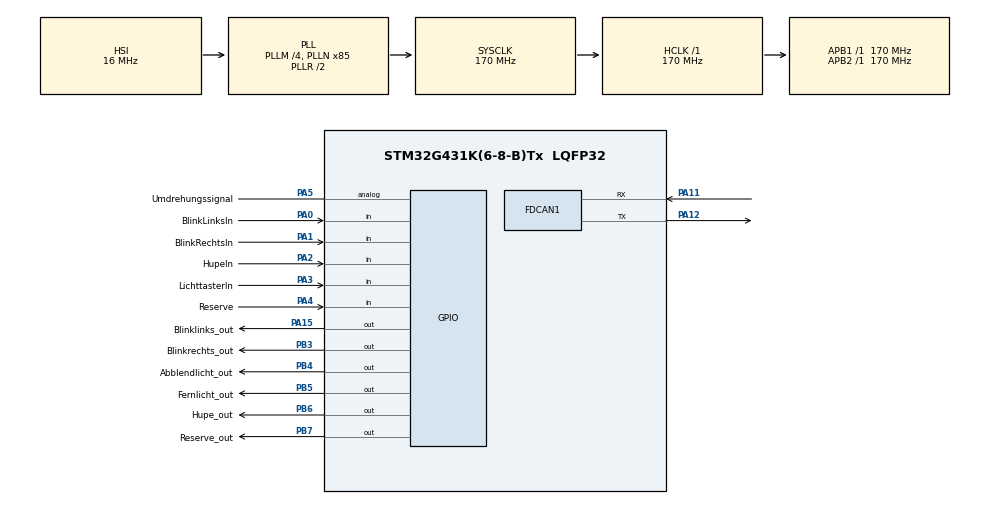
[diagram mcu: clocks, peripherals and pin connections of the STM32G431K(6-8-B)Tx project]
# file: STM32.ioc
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FDCAN1.CalculateBaudRateNominal=3541666
FDCAN1.CalculateTimeBitNominal=282
FDCAN1.CalculateTimeQuantumNominal=94.11764705882354
Mcu.Family=STM32G4
Mcu.Name=STM32G431K(6-8-B)Tx
Mcu.Package=LQFP32
NVIC.PriorityGroup=NVIC_PRIORITYGROUP_4
PA0.GPIO_Label=BlinkLinksIn
PA0.GPIO_PuPd=GPIO_PULLUP
PA0.Signal=GPIO_Input
PA1.GPIO_Label=BlinkRechtsIn
PA1.GPIO_PuPd=GPIO_PULLUP
PA1.Signal=GPIO_Input
PA11.Mode=FDCAN_Activate
PA11.Signal=FDCAN1_RX
PA12.Mode=FDCAN_Activate
PA12.Signal=FDCAN1_TX
PA13.Mode=Serial_Wire
PA13.Signal=SYS_JTMS-SWDIO
PA14.Mode=Serial_Wire
PA14.Signal=SYS_JTCK-SWCLK
PA15.GPIO_Label=Blinklinks_out
PA15.Signal=GPIO_Output
PA2.GPIO_Label=HupeIn
PA2.GPIO_PuPd=GPIO_PULLUP
PA2.Signal=GPIO_Input
PA3.GPIO_Label=LichttasterIn
PA3.GPIO_PuPd=GPIO_PULLUP
PA3.Signal=GPIO_Input
PA4.GPIO_Label=Reserve
PA4.GPIO_PuPd=GPIO_PULLUP
PA4.Signal=GPIO_Input
PA5.GPIO_Label=Umdrehungssignal
PA5.Signal=GPIO_Analog
PB3.GPIO_Label=Blinkrechts_out
PB3.Signal=GPIO_Output
PB4.GPIO_Label=Abblendlicht_out
PB4.Signal=GPIO_Output
PB5.GPIO_Label=Fernlicht_out
PB5.Signal=GPIO_Output
PB6.GPIO_Label=Hupe_out
PB6.Signal=GPIO_Output
PB7.GPIO_Label=Reserve_out
PB7.Signal=GPIO_Output
ProjectManager.HeapSize=0x200
ProjectManager.StackSize=0x400
ProjectManager.TargetToolchain=STM32CubeIDE
RCC.ADC12Freq_Value=170000000
RCC.AHBFreq_Value=170000000
RCC.APB1Freq_Value=170000000
RCC.APB1TimFreq_Value=170000000
RCC.APB2Freq_Value=170000000
RCC.APB2TimFreq_Value=170000000
RCC.CortexFreq_Value=170000000
RCC.EXTERNAL_CLOCK_VALUE=12288000
RCC.HCLKFreq_Value=170000000
RCC.HSE_VALUE=8000000
RCC.HSI48_VALUE=48000000
RCC.HSI_VALUE=16000000
RCC.LSE_VALUE=32768
RCC.PLLM=RCC_PLLM_DIV4
RCC.PLLN=85
RCC.SYSCLKFreq_VALUE=170000000
RCC.SYSCLKSource=RCC_SYSCLKSOURCE_PLLCLK
RCC.USBFreq_Value=170000000
RCC.VCOOutputFreq_Value=340000000
VP_SYS_VS_DBSignals.Mode=DisableDeadBatterySignals
board=custom

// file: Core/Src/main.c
/* USER CODE BEGIN Header */
/**
  ******************************************************************************
  * @file           : main.c
  * @brief          : Main program body
  ******************************************************************************
  * @attention
  *
  * Copyright (c) 2026 STMicroelectronics.
  * All rights reserved.
  *
  * This software is licensed under terms that can be found in the LICENSE file
  * in the root directory of this software component.
  * If no LICENSE file comes with this software, it is provided AS-IS.
  *
  ******************************************************************************
  */
/* USER CODE END Header */
#include "main.h"

/* USER CODE BEGIN Includes */
#include "buttons.h"
#include "events.h"
#include "blinker.h"
#include "vehicle.h"
#include "outputs.h"
#include "can.h"
#include "lights.h"
#include <string.h>
/* USER CODE END Includes */

FDCAN_HandleTypeDef hfdcan1;

void SystemClock_Config(void);
static void MX_GPIO_Init(void);
static void MX_FDCAN1_Init(void);

int main(void)
{

  /* MCU Configuration--------------------------------------------------------*/

  /* Reset of all peripherals, Initializes the Flash interface and the Systick. */
  HAL_Init();

  /* Configure the system clock */
  SystemClock_Config();

  /* Initialize all configured peripherals */
  MX_GPIO_Init();
  MX_FDCAN1_Init();

  /* USER CODE BEGIN 2 */
  if (HAL_FDCAN_Start(&hfdcan1) != HAL_OK)
  {
      Error_Handler();
  }

  HAL_Delay(500);

  Buttons_Init();
  Blinker_Init();
  Vehicle_Init();
  Lights_Init();
  /* USER CODE END 2 */

  /* Infinite loop */
  /* USER CODE BEGIN WHILE */
  uint32_t canTimer = HAL_GetTick();
  Outputs_t lastOutputs = {0};

  while (1)
  {
      Buttons_Update();

      Event_t event;
      while (Event_Get(&event))
      {
          Can_SendEvent(event);
          Vehicle_HandleEvent(event);
          Blinker_HandleEvent(event);
      }

      Blinker_Update();
      Outputs_Update();

      /* Status sofort senden, wenn sich ein Ausgang ändert */
      if (memcmp(&lastOutputs, &outputs, sizeof(Outputs_t)) != 0)
      {
          lastOutputs = outputs;
          Can_SendStatusFrame();
      }

      /* Zusätzlich alle 1 Sekunde Status senden */
      if (HAL_GetTick() - canTimer >= 800)
      {
          canTimer = HAL_GetTick();
          Can_SendStatusFrame();
      }
  }
  /* USER CODE END 3 */
}

void SystemClock_Config(void)
{
  RCC_OscInitTypeDef RCC_OscInitStruct = {0};
  RCC_ClkInitTypeDef RCC_ClkInitStruct = {0};

  /** Configure the main internal regulator output voltage
  */
  HAL_PWREx_ControlVoltageScaling(PWR_REGULATOR_VOLTAGE_SCALE1_BOOST);

  /** Initializes the RCC Oscillators according to the specified parameters
  * in the RCC_OscInitTypeDef structure.
  */
  RCC_OscInitStruct.OscillatorType = RCC_OSCILLATORTYPE_HSI;
  RCC_OscInitStruct.HSIState = RCC_HSI_ON;
  RCC_OscInitStruct.HSICalibrationValue = RCC_HSICALIBRATION_DEFAULT;
  RCC_OscInitStruct.PLL.PLLState = RCC_PLL_ON;
  RCC_OscInitStruct.PLL.PLLSource = RCC_PLLSOURCE_HSI;
  RCC_OscInitStruct.PLL.PLLM = RCC_PLLM_DIV4;
  RCC_OscInitStruct.PLL.PLLN = 85;
  RCC_OscInitStruct.PLL.PLLP = RCC_PLLP_DIV2;
  RCC_OscInitStruct.PLL.PLLQ = RCC_PLLQ_DIV2;
  RCC_OscInitStruct.PLL.PLLR = RCC_PLLR_DIV2;
  if (HAL_RCC_OscConfig(&RCC_OscInitStruct) != HAL_OK)
  {
    Error_Handler();
  }

  /** Initializes the CPU, AHB and APB buses clocks
  */
  RCC_ClkInitStruct.ClockType = RCC_CLOCKTYPE_HCLK|RCC_CLOCKTYPE_SYSCLK
                              |RCC_CLOCKTYPE_PCLK1|RCC_CLOCKTYPE_PCLK2;
  RCC_ClkInitStruct.SYSCLKSource = RCC_SYSCLKSOURCE_PLLCLK;
  RCC_ClkInitStruct.AHBCLKDivider = RCC_SYSCLK_DIV1;
  RCC_ClkInitStruct.APB1CLKDivider = RCC_HCLK_DIV1;
  RCC_ClkInitStruct.APB2CLKDivider = RCC_HCLK_DIV1;

  if (HAL_RCC_ClockConfig(&RCC_ClkInitStruct, FLASH_LATENCY_4) != HAL_OK)
  {
    Error_Handler();
  }
}

static void MX_FDCAN1_Init(void)
{

  hfdcan1.Instance = FDCAN1;
  hfdcan1.Init.ClockDivider = FDCAN_CLOCK_DIV1;
  hfdcan1.Init.FrameFormat = FDCAN_FRAME_CLASSIC;
  hfdcan1.Init.Mode = FDCAN_MODE_NORMAL;
  hfdcan1.Init.AutoRetransmission = ENABLE;
  hfdcan1.Init.TransmitPause = DISABLE;
  hfdcan1.Init.ProtocolException = DISABLE;
  hfdcan1.Init.NominalPrescaler = 20;
  hfdcan1.Init.NominalSyncJumpWidth = 2;
  hfdcan1.Init.NominalTimeSeg1 = 14;
  hfdcan1.Init.NominalTimeSeg2 = 2;
  hfdcan1.Init.DataPrescaler = 1;
  hfdcan1.Init.DataSyncJumpWidth = 1;
  hfdcan1.Init.DataTimeSeg1 = 1;
  hfdcan1.Init.DataTimeSeg2 = 1;
  hfdcan1.Init.StdFiltersNbr = 0;
  hfdcan1.Init.ExtFiltersNbr = 0;
  hfdcan1.Init.TxFifoQueueMode = FDCAN_TX_FIFO_OPERATION;
  if (HAL_FDCAN_Init(&hfdcan1) != HAL_OK)
  {
    Error_Handler();
  }

}

static void MX_GPIO_Init(void)
{
  GPIO_InitTypeDef GPIO_InitStruct = {0};

  /* GPIO Ports Clock Enable */
  __HAL_RCC_GPIOA_CLK_ENABLE();
  __HAL_RCC_GPIOB_CLK_ENABLE();

  /*Configure GPIO pin Output Level */
  HAL_GPIO_WritePin(Blinklinks_out_GPIO_Port, Blinklinks_out_Pin, GPIO_PIN_RESET);

  /*Configure GPIO pin Output Level */
  HAL_GPIO_WritePin(GPIOB, Blinkrechts_out_Pin|Abblendlicht_out_Pin|Fernlicht_out_Pin|Hupe_out_Pin
                          |Reserve_out_Pin, GPIO_PIN_RESET);

  /*Configure GPIO pins : BlinkLinksIn_Pin BlinkRechtsIn_Pin HupeIn_Pin LichttasterIn_Pin
                           Reserve_Pin */
  GPIO_InitStruct.Pin = BlinkLinksIn_Pin|BlinkRechtsIn_Pin|HupeIn_Pin|LichttasterIn_Pin
                          |Reserve_Pin;
  GPIO_InitStruct.Mode = GPIO_MODE_INPUT;
  GPIO_InitStruct.Pull = GPIO_PULLUP;
  HAL_GPIO_Init(GPIOA, &GPIO_InitStruct);

  /*Configure GPIO pin : Umdrehungssignal_Pin */
  GPIO_InitStruct.Pin = Umdrehungssignal_Pin;
  GPIO_InitStruct.Mode = GPIO_MODE_ANALOG;
  GPIO_InitStruct.Pull = GPIO_NOPULL;
  HAL_GPIO_Init(Umdrehungssignal_GPIO_Port, &GPIO_InitStruct);

  /*Configure GPIO pin : Blinklinks_out_Pin */
  GPIO_InitStruct.Pin = Blinklinks_out_Pin;
  GPIO_InitStruct.Mode = GPIO_MODE_OUTPUT_PP;
  GPIO_InitStruct.Pull = GPIO_NOPULL;
  GPIO_InitStruct.Speed = GPIO_SPEED_FREQ_LOW;
  HAL_GPIO_Init(Blinklinks_out_GPIO_Port, &GPIO_InitStruct);

  /*Configure GPIO pins : Blinkrechts_out_Pin Abblendlicht_out_Pin Fernlicht_out_Pin Hupe_out_Pin
                           Reserve_out_Pin */
  GPIO_InitStruct.Pin = Blinkrechts_out_Pin|Abblendlicht_out_Pin|Fernlicht_out_Pin|Hupe_out_Pin
                          |Reserve_out_Pin;
  GPIO_InitStruct.Mode = GPIO_MODE_OUTPUT_PP;
  GPIO_InitStruct.Pull = GPIO_NOPULL;
  GPIO_InitStruct.Speed = GPIO_SPEED_FREQ_LOW;
  HAL_GPIO_Init(GPIOB, &GPIO_InitStruct);

}

void Error_Handler(void)
{
  __disable_irq();
  while (1)
  {
  }
}
